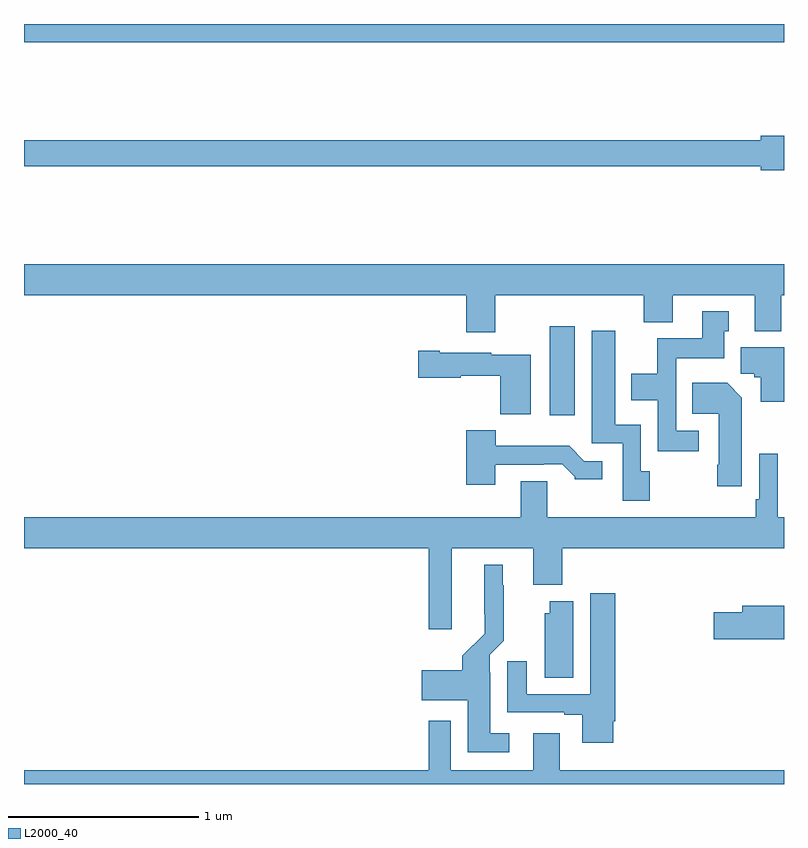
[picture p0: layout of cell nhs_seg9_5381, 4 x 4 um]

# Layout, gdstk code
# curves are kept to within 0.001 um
import gdstk
lib = gdstk.Library(unit=1e-6, precision=1e-09)
def R(c, l, rs):  # rectangles x0, y0, x1, y1
    for r in rs: c.add(gdstk.rectangle(r[:2], r[2:], *l))
def P(c, l, *ps):  # polygons
    for p in ps: c.add(gdstk.Polygon(p, *l))
L2000_40 = (2000, 40)

nhs_seg9_5381 = lib.new_cell('nhs_seg9_5381')
R(nhs_seg9_5381, L2000_40, [(425.768,1210.44,425.899,1210.909), (423,1212.404,427,1212.5)])
P(nhs_seg9_5381, L2000_40, [(427,1211.912),(426.878,1211.912),(426.878,1211.888),(423,1211.888),(423,1211.752),(426.878,1211.752),(426.878,1211.729),(427,1211.729)],
  [(425.479,1211.072),(426.263,1211.072),(426.263,1210.931),(426.415,1210.931),(426.415,1211.072),(426.845,1211.072),(426.845,1210.883),(426.985,1210.883),(426.985,1211.072),(427,1211.072),(427,1211.236),(423,1211.236),(423,1211.072),(425.327,1211.072),(425.327,1210.878),(425.479,1210.878)],
  [(426.55,1210.359),(426.432,1210.359),(426.432,1210.742),(426.685,1210.742),(426.685,1210.884),(426.709,1210.884),(426.709,1210.987),(426.569,1210.987),(426.569,1210.846),(426.334,1210.846),(426.334,1210.66),(426.197,1210.66),(426.197,1210.52),(426.336,1210.52),(426.336,1210.251),(426.55,1210.251)],
  [(426.294,1210.146),(426.246,1210.146),(426.246,1210.39),(426.112,1210.39),(426.112,1210.885),(425.987,1210.885),(425.987,1210.293),(426.15,1210.293),(426.15,1209.99),(426.294,1209.99)],
  [(427,1210.798),(426.773,1210.798),(426.773,1210.66),(426.843,1210.66),(426.843,1210.642),(426.878,1210.642),(426.878,1210.512),(427,1210.512)],
  [(425.668,1210.759),(425.46,1210.759),(425.46,1210.771),(425.188,1210.771),(425.188,1210.779),(425.076,1210.779),(425.076,1210.637),(425.298,1210.637),(425.298,1210.649),(425.506,1210.649),(425.506,1210.445),(425.668,1210.445)],
  [(426.778,1210.534),(426.7,1210.612),(426.517,1210.612),(426.517,1210.448),(426.656,1210.448),(426.656,1210.18),(426.649,1210.18),(426.649,1210.068),(426.778,1210.068)],
  [(425.479,1210.179),(425.735,1210.179),(425.735,1210.182),(425.834,1210.182),(425.898,1210.118),(425.898,1210.103),(426.043,1210.103),(426.043,1210.2),(425.949,1210.2),(425.871,1210.279),(425.482,1210.279),(425.482,1210.363),(425.327,1210.363),(425.327,1210.074),(425.479,1210.074)],
  [(425.251,1209.74),(425.681,1209.74),(425.681,1209.548),(425.834,1209.548),(425.834,1209.74),(427,1209.74),(427,1209.904),(426.967,1209.904),(426.967,1210.237),(426.87,1210.237),(426.87,1210),(426.85,1210),(426.85,1209.904),(425.755,1209.904),(425.755,1210.094),(425.615,1210.094),(425.615,1209.904),(423,1209.904),(423,1209.74),(425.129,1209.74),(425.129,1209.315),(425.251,1209.315)],
  [(425.554,1208.767),(425.455,1208.767),(425.455,1209.086),(425.451,1209.086),(425.451,1209.18),(425.525,1209.254),(425.525,1209.545),(425.521,1209.545),(425.521,1209.655),(425.423,1209.655),(425.424,1209.292),(425.306,1209.174),(425.306,1209.1),(425.094,1209.1),(425.094,1208.942),(425.336,1208.942),(425.336,1208.666),(425.554,1208.666)],
  [(426.1,1208.83),(426.113,1208.83),(426.113,1209.505),(425.981,1209.505),(425.981,1208.973),(425.647,1208.973),(425.647,1209.145),(425.543,1209.145),(425.543,1208.877),(425.843,1208.877),(425.843,1208.865),(425.939,1208.865),(425.939,1208.718),(426.1,1208.718)],
  [(425.89,1209.463),(425.768,1209.463),(425.768,1209.399),(425.741,1209.399),(425.741,1209.058),(425.89,1209.058)],
  [(427,1209.439),(426.779,1209.439),(426.779,1209.405),(426.63,1209.405),(426.63,1209.263),(427,1209.263)],
  [(427,1208.572),(425.821,1208.572),(425.821,1208.767),(425.681,1208.767),(425.681,1208.572),(425.247,1208.572),(425.247,1208.833),(425.131,1208.833),(425.131,1208.572),(423,1208.572),(423,1208.5),(427,1208.5)])

lib.write_gds('nhs_seg9_5381.gds')
